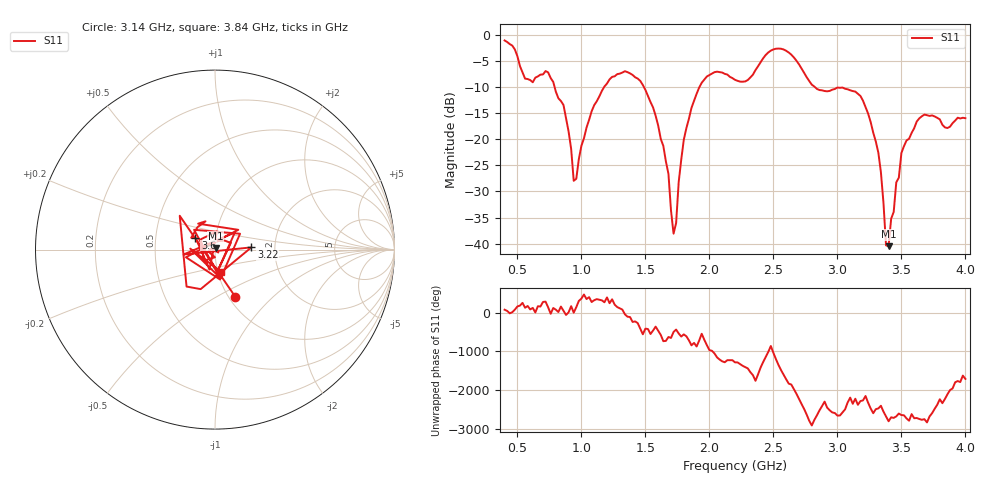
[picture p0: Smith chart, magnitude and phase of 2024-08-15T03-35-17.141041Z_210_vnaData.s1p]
!Created with skrf (http://scikit-rf.org).
# Hz S RI R 50.0
!freq ReS11 ImS11
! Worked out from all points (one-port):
!   181 points, 400 MHz to 4 GHz, reference 50 ohm
!   lowest |S11| = -40.5 dB at 3.4 GHz (marker M1), VSWR 1.02, Z = 50.3 + j0.895 ohm
!   |S11| at or under -10 dB: 790.7 MHz to 1.177 GHz (386.7 MHz wide, 39.3 % of centre); 1.488 GHz to 1.922 GHz (433.6 MHz wide, 25.4 % of centre); 2.824 GHz to end of sweep
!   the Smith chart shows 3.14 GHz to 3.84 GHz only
!   S11 on the Smith chart (normalised r, x): 3.14 GHz: 1.07, -0.61; 3.22 GHz: 1.51, +0.04; 3.6 GHz: 0.80, +0.11; 3.84 GHz: 1.04, -0.26
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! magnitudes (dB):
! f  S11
! 400 MHz  -1.1
! 560 MHz  -8.4
! 740 MHz  -7.2
! 860 MHz  -13.4
! 940 MHz  -28.0
! 1.1 GHz  -13.5
! 1.3 GHz  -7.4
! 1.56 GHz  -13.9
! 1.68 GHz  -26.6
! 1.72 GHz  -38.1
! 1.76 GHz  -28.2
! 1.82 GHz  -17.9
! 1.94 GHz  -9.2
! 2.2 GHz  -8.6
! 2.5 GHz  -2.8
! 2.66 GHz  -4.3
! 2.84 GHz  -10.4
! 3.1 GHz  -10.6
! 3.14 GHz  -10.9
! 3.22 GHz  -13.8
! 3.32 GHz  -22.6
! 3.38 GHz  -40.3
! 3.4 GHz  -40.5
! 3.5 GHz  -22.6
! 3.56 GHz  -19.9
! 3.6 GHz  -17.9
! 3.84 GHz  -17.7
! 4 GHz  -16.0
